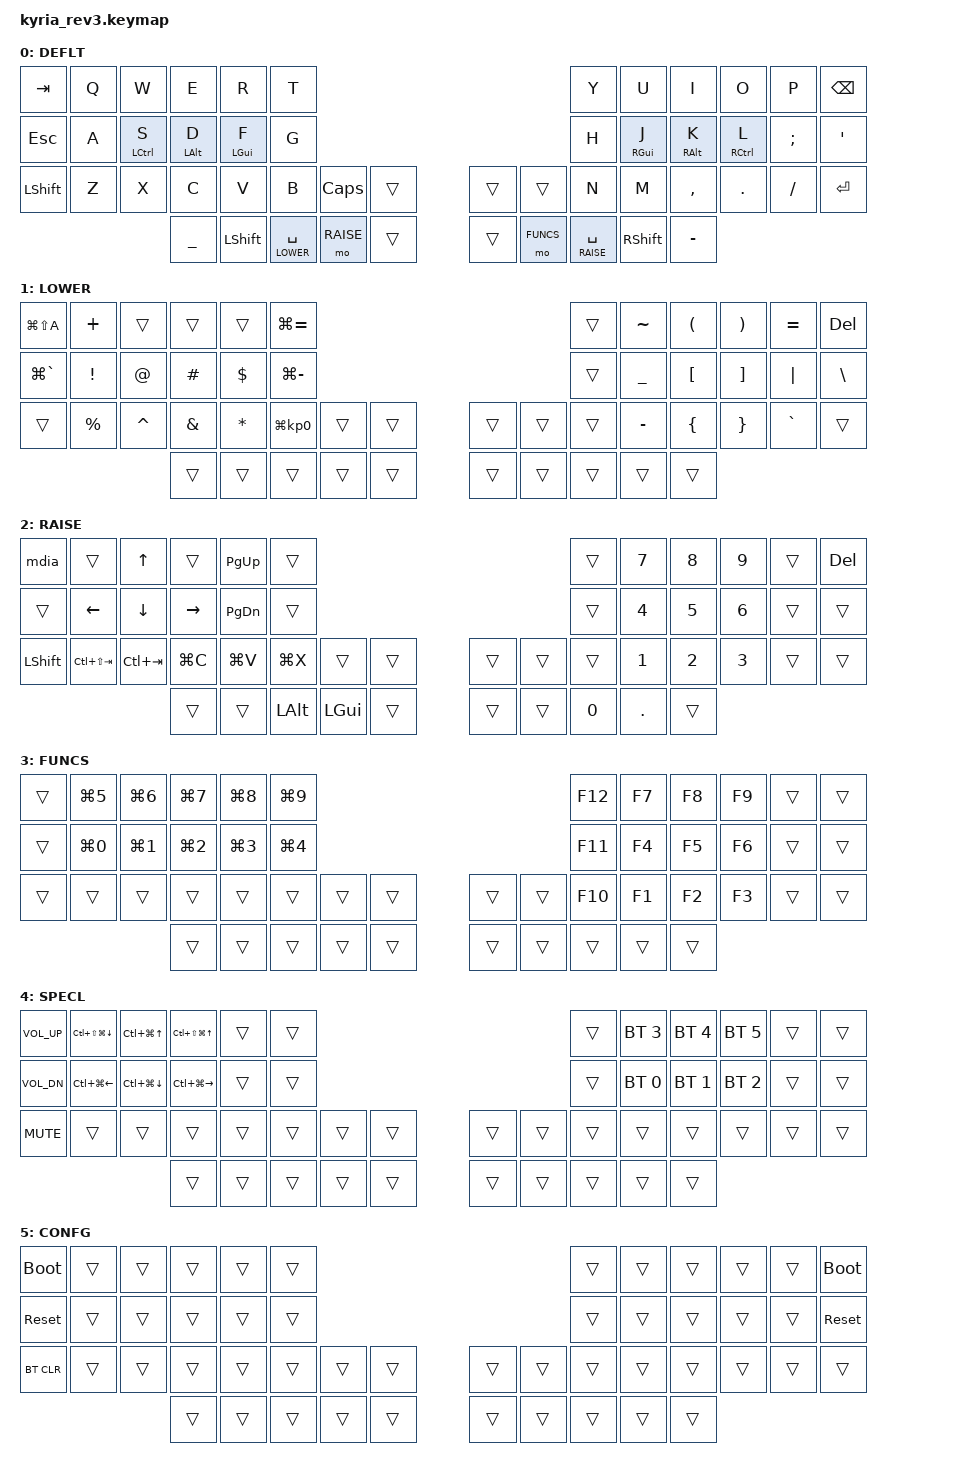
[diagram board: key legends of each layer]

/*
 * Copyright (c) 2023 The ZMK Contributors
 *
 * SPDX-License-Identifier: MIT
 */
#define ZMK_POINTING_DEFAULT_MOVE_VAL 1500  // default: 600
#define ZMK_POINTING_DEFAULT_SCRL_VAL 20    // default: 10
#define DEFLT 0
#define LOWER 1
#define RAISE 2
#define FUNCS 3
#define SPECL 4
#define CONFG 5

#include <behaviors.dtsi>
#include <dt-bindings/zmk/keys.h>
#include <dt-bindings/zmk/bt.h>
#include <dt-bindings/zmk/pointing.h>

/ {
        behaviors {
                hm: homerow_mods {
                        compatible = "zmk,behavior-hold-tap";
                        #binding-cells = <2>;
                        tapping-term-ms = <175>;
                        quick-tap-ms = <0>;
                        flavor = "tap-preferred";
                        bindings = <&kp>, <&kp>;
                };
                mdia: tap_dance_media {
                        compatible = "zmk,behavior-tap-dance";
                        #binding-cells = <0>;
                        tapping-term-ms = <200>;
                        bindings = <&kp C_PLAY>, <&kp C_NEXT>, <&kp C_PREV>;
                };
                sft_cwd: tap_dance_caps_word {
                        compatible = "zmk,behavior-tap-dance";
                        #binding-cells = <0>;
                        tapping-term-ms = <250>;
                        bindings = <&kp LSHFT>, <&caps_word>;
                };
        };

        conditional_layers {
                compatible = "zmk,conditional-layers";
                specials_layer {
                        if-layers = <RAISE FUNCS>;
                        then-layer = <SPECL>;
                };
                configs_layer {
                        if-layers = <LOWER RAISE>;
                        then-layer = <CONFG>;
                };
        };

        keymap {
                compatible = "zmk,keymap";
                default {
                        display-name = "DEFLT";
                        bindings = <
/*      --------------------,--------------------,--------------------,--------------------,--------------------,--------------------,--------------------,--------------------,--------------------,--------------------,--------------------,--------------------,--------------------,--------------------,--------------------,--------------------,--------------------,-------------------- */
        &kp TAB              &kp Q                &kp W                &kp E                &kp R                &kp T                                                                                                                         &kp Y                &kp U                &kp I                &kp O                &kp P                &kp BSPC
        &kp ESC              &kp A                &hm LCTRL S          &hm LALT D           &hm LGUI F           &kp G                                                                                                                         &kp H                &hm RGUI J           &hm RALT K           &hm RCTRL L          &kp SEMI             &kp SQT
        &kp LSHFT            &kp Z                &kp X                &kp C                &kp V                &kp B                &kp CAPS             &trans                                    &trans               &trans               &kp N                &kp M                &kp COMMA            &kp DOT              &kp FSLH             &kp ENTER
                                                                       &kp UNDER            &kp LSHFT            &lt LOWER SPACE      &mo RAISE            &trans                                    &trans               &mo FUNCS            &lt RAISE SPACE      &kp RSHFT            &kp MINUS
                        >;
                };
                lower {
                        display-name = "LOWER";
                        bindings = <
/*      --------------------,--------------------,--------------------,--------------------,--------------------,--------------------,--------------------,--------------------,--------------------,--------------------,--------------------,--------------------,--------------------,--------------------,--------------------,--------------------,--------------------,-------------------- */
        &kp LG(LS(A))        &kp PLUS             &trans               &trans               &trans               &kp LG(EQUAL)                                                                                                                 &trans               &kp TILDE            &kp LPAR             &kp RPAR             &kp EQUAL            &kp DEL
        &kp LG(GRAVE)        &kp EXCL             &kp AT               &kp HASH             &kp DOLLAR           &kp LG(MINUS)                                                                                                                 &trans               &kp UNDER            &kp LEFT_BRACKET     &kp RIGHT_BRACKET    &kp PIPE             &kp BACKSLASH
        &trans               &kp PERCENT          &kp CARET            &kp AMPERSAND        &kp ASTERISK         &kp LG(KP_N0)        &trans               &trans                                    &trans               &trans               &trans               &kp MINUS            &kp LEFT_BRACE       &kp RIGHT_BRACE      &kp GRAVE            &trans     
                                                                       &trans               &trans               &trans               &trans               &trans                                    &trans               &trans               &trans               &trans               &trans
                        >;
                };
                raise {
                        display-name = "RAISE";
                        bindings = <
/*      --------------------,--------------------,--------------------,--------------------,--------------------,--------------------,--------------------,--------------------,--------------------,--------------------,--------------------,--------------------,--------------------,--------------------,--------------------,--------------------,--------------------,-------------------- */
        &mdia                &trans               &kp UP               &trans               &kp PAGE_UP          &trans                                                                                                                        &trans               &kp N7               &kp N8               &kp N9               &trans               &kp DEL       
        &trans               &kp LEFT             &kp DOWN             &kp RIGHT            &kp PAGE_DOWN        &trans                                                                                                                        &trans               &kp N4               &kp N5               &kp N6               &trans               &trans       
        &kp LSHFT            &kp LC(LS(TAB))      &kp LC(TAB)          &kp LG(C)            &kp LG(V)            &kp LG(X)            &trans               &trans                                    &trans               &trans               &trans               &kp N1               &kp N2               &kp N3               &trans               &trans       
                                                                       &trans               &trans               &kp LALT             &kp LGUI             &trans                                    &trans               &trans               &kp N0               &kp DOT              &trans
                        >;
                };
                functions {
                        display-name = "FUNCS";
                        bindings = <
/*      --------------------,--------------------,--------------------,--------------------,--------------------,--------------------,--------------------,--------------------,--------------------,--------------------,--------------------,--------------------,--------------------,--------------------,--------------------,--------------------,--------------------,-------------------- */
        &trans               &kp LG(N5)           &kp LG(N6)           &kp LG(N7)           &kp LG(N8)           &kp LG(N9)                                                                                                                    &kp F12              &kp F7               &kp F8               &kp F9               &trans               &trans
        &trans               &kp LG(N0)           &kp LG(N1)           &kp LG(N2)           &kp LG(N3)           &kp LG(N4)                                                                                                                    &kp F11              &kp F4               &kp F5               &kp F6               &trans               &trans
        &trans               &trans               &trans               &trans               &trans               &trans               &trans               &trans                                    &trans               &trans               &kp F10              &kp F1               &kp F2               &kp F3               &trans               &trans
                                                                       &trans               &trans               &trans               &trans               &trans                                    &trans               &trans               &trans               &trans               &trans
                        >;
                };
                specials {
                        display-name = "SPECL";
                        bindings = <
/*      --------------------,--------------------,--------------------,--------------------,--------------------,--------------------,--------------------,--------------------,--------------------,--------------------,--------------------,--------------------,--------------------,--------------------,--------------------,--------------------,--------------------,-------------------- */
        &kp C_VOL_UP         &kp LC(LS(LG(DOWN))) &kp LC(LG(UP))       &kp LC(LS(LG(UP)))   &trans               &trans                                                                                                                        &trans               &bt BT_SEL 3         &bt BT_SEL 4         &bt BT_SEL 5         &trans               &trans
        &kp C_VOL_DN         &kp LC(LG(LEFT))     &kp LC(LG(DOWN))     &kp LC(LG(RIGHT))    &trans               &trans                                                                                                                        &trans               &bt BT_SEL 0         &bt BT_SEL 1         &bt BT_SEL 2         &trans               &trans
        &kp C_MUTE           &trans               &trans               &trans               &trans               &trans               &trans               &trans                                    &trans               &trans               &trans               &trans               &trans               &trans               &trans               &trans
                                                                       &trans               &trans               &trans               &trans               &trans                                    &trans               &trans               &trans               &trans               &trans
                        >;
                };
                configs {
                        display-name = "CONFG";
                        bindings = <
/*      --------------------,--------------------,--------------------,--------------------,--------------------,--------------------,--------------------,--------------------,--------------------,--------------------,--------------------,--------------------,--------------------,--------------------,--------------------,--------------------,--------------------,-------------------- */
        &bootloader          &trans               &trans               &trans               &trans               &trans                                                                                                                        &trans               &trans               &trans               &trans               &trans               &bootloader
        &sys_reset           &trans               &trans               &trans               &trans               &trans                                                                                                                        &trans               &trans               &trans               &trans               &trans               &sys_reset
        &bt BT_CLR           &trans               &trans               &trans               &trans               &trans               &trans               &trans                                    &trans               &trans               &trans               &trans               &trans               &trans               &trans               &trans
                                                                       &trans               &trans               &trans               &trans               &trans                                    &trans               &trans               &trans               &trans               &trans
                        >;
                };
        };
};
